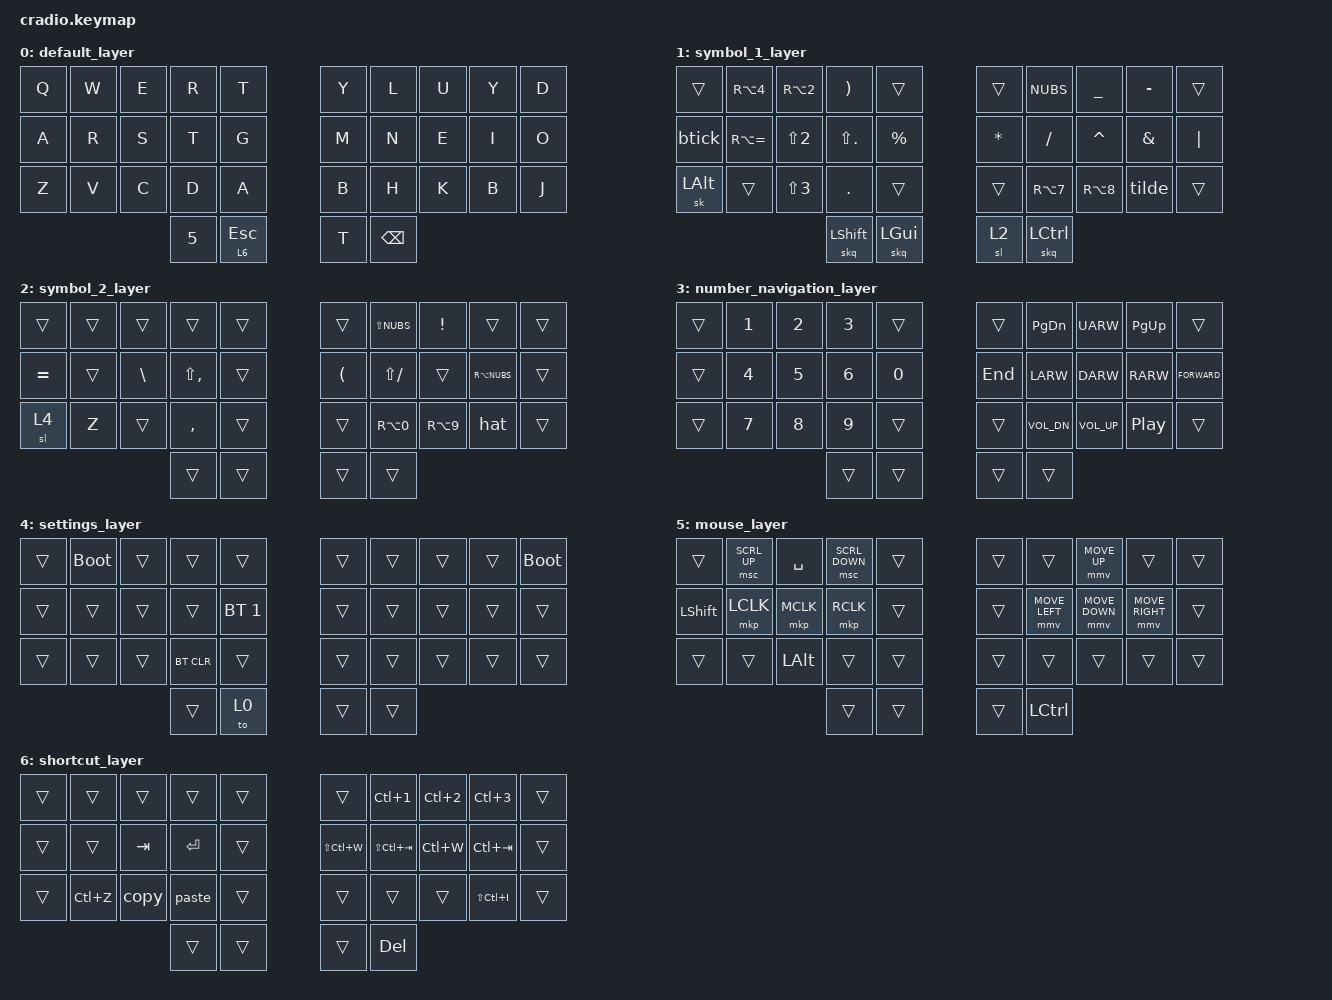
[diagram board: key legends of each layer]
#include <behaviors/mouse_keys.dtsi>
#include <behaviors.dtsi>
#include <dt-bindings/zmk/bt.h>
#include <dt-bindings/zmk/keys.h>
#include <dt-bindings/zmk/mouse.h>

/ {
    input_configs {
        compatible = "zmk,input-configs";

        mmv {
            device = <&mmv>;
            scale-multiplier = <10>;
        };
    };

    behaviors {
        htl: hold_tap_leader {
            label = "leader_hold_tap";
            compatible = "zmk,behavior-hold-tap";
            #binding-cells = <2>;
            flavor = "tap-preferred";
            tapping-term-ms = <200>;
            bindings = <&mo>, <&sl>;
        };

        skq: sticky_key_quick_release {
            compatible = "zmk,behavior-sticky-key";
            label = "STICKY_KEY_QUICK_RELEASE";
            #binding-cells = <1>;
            bindings = <&kp>;
            release-after-ms = <1000>;
            quick-release;
            ignore-modifiers;
        };
    };

    macros {
        tilde: tilde {
            label = "macro_tilde";
            compatible = "zmk,behavior-macro";
            #binding-cells = <0>;
            bindings = <&kp RA(RBKT) &kp RA(RBKT)>;
        };

        btick: btick {
            label = "macro_btick";
            compatible = "zmk,behavior-macro";
            #binding-cells = <0>;
            bindings = <&kp PLUS &kp PLUS>;
        };

        hat: hat {
            label = "macro_hat";
            compatible = "zmk,behavior-macro";
            #binding-cells = <0>;
            bindings = <&kp RBRC &kp RBRC>;
        };

        copy: copy {
            label = "macro_copy";
            compatible = "zmk,behavior-macro";
            #binding-cells = <0>;
            bindings = <&kp LC(C)>;
        };

        paste: paste {
            label = "macro_paste";
            compatible = "zmk,behavior-macro";
            #binding-cells = <0>;
            bindings = <&kp LC(V)>;
        };
    };

    combos {
        compatible = "zmk,combos";

        combo_aa {
            timeout-ms = <30>;
            key-positions = <17 18>;
            layers = <0>;
            bindings = <&kp LBKT>;
        };

        combo_ae {
            timeout-ms = <30>;
            key-positions = <7 8>;
            layers = <0>;
            bindings = <&kp SEMI>;
        };

        combo_ao {
            timeout-ms = <30>;
            key-positions = <27 28>;
            layers = <0>;
            bindings = <&kp SQT>;
        };

        combo_x {
            timeout-ms = <30>;
            key-positions = <11 12>;
            layers = <0>;
            bindings = <&kp X>;
        };

        combo_q {
            timeout-ms = <30>;
            key-positions = <21 22>;
            layers = <0>;
            bindings = <&kp Q>;
        };
    };

    keymap {
        compatible = "zmk,keymap";

        default_layer {
            bindings = <
&kp Q  &kp W  &kp E  &kp R         &kp T        &kp Y  &kp L     &kp U  &kp Y  &kp D
&kp A  &kp R  &kp S  &kp T         &kp G        &kp M  &kp N     &kp E  &kp I  &kp O
&kp Z  &kp V  &kp C  &kp D         &kp A        &kp B  &kp H     &kp K  &kp B  &kp J
                     &kp NUMBER_5  &lt 6 ESC    &kp T  &kp BSPC
            >;
        };

        symbol_1_layer {
            bindings = <
&trans    &kp RA(N4)     &kp RA(N2)  &kp RPAR     &trans       &trans     &kp NUBS    &kp UNDER   &kp MINUS  &trans
&btick    &kp RA(EQUAL)  &kp LS(N2)  &kp LS(DOT)  &kp PRCNT    &kp ASTRK  &kp FSLH    &kp CARET   &kp AMPS   &kp PIPE
&sk LALT  &trans         &kp LS(N3)  &kp DOT      &trans       &trans     &kp RA(N7)  &kp RA(N8)  &tilde     &trans
                                     &skq LSHIFT  &skq LGUI    &sl 2      &skq LCTRL
            >;
        };

        symbol_2_layer {
            bindings = <
&trans     &trans  &trans    &trans         &trans    &trans    &kp LS(NUBS)  &kp EXCL    &trans        &trans
&kp EQUAL  &trans  &kp BSLH  &kp LS(COMMA)  &trans    &kp LPAR  &kp LS(FSLH)  &trans      &kp RA(NUBS)  &trans
&sl 4      &kp Z   &trans    &kp COMMA      &trans    &trans    &kp RA(N0)    &kp RA(N9)  &hat          &trans
                             &trans         &trans    &trans    &trans
            >;
        };

        number_navigation_layer {
            bindings = <
&trans  &kp N1  &kp N2  &kp N3  &trans    &trans   &kp PG_DN     &kp UARW      &kp PG_UP  &trans
&trans  &kp N4  &kp N5  &kp N6  &kp N0    &kp END  &kp LARW      &kp DARW      &kp RARW   &kp K_FORWARD
&trans  &kp N7  &kp N8  &kp N9  &trans    &trans   &kp C_VOL_DN  &kp C_VOL_UP  &kp C_PP   &trans
                        &trans  &trans    &trans   &trans
            >;
        };

        settings_layer {
            bindings = <
&trans  &bootloader  &trans  &trans      &trans          &trans  &trans  &trans  &trans  &bootloader
&trans  &trans       &trans  &trans      &bt BT_SEL 1    &trans  &trans  &trans  &trans  &trans
&trans  &trans       &trans  &bt BT_CLR  &trans          &trans  &trans  &trans  &trans  &trans
                             &trans      &to 0           &trans  &trans
            >;
        };

        mouse_layer {
            bindings = <
&trans      &msc SCRL_UP  &kp SPACE  &msc SCRL_DOWN  &trans    &trans  &trans          &mmv MOVE_UP    &trans           &trans
&kp LSHIFT  &mkp LCLK     &mkp MCLK  &mkp RCLK       &trans    &trans  &mmv MOVE_LEFT  &mmv MOVE_DOWN  &mmv MOVE_RIGHT  &trans
&trans      &trans        &kp LALT   &trans          &trans    &trans  &trans          &trans          &trans           &trans
                                     &trans          &trans    &trans  &kp LCTRL
            >;
        };

        shortcut_layer {
            bindings = <
&trans  &trans     &trans   &trans     &trans    &trans         &kp LC(N1)       &kp LC(N2)  &kp LC(N3)     &trans
&trans  &trans     &kp TAB  &kp ENTER  &trans    &kp LS(LC(W))  &kp LS(LC(TAB))  &kp LC(W)   &kp LC(TAB)    &trans
&trans  &kp LC(Z)  &copy    &paste     &trans    &trans         &trans           &trans      &kp LS(LC(I))  &trans
                            &trans     &trans    &trans         &kp DEL
            >;
        };
    };
};
